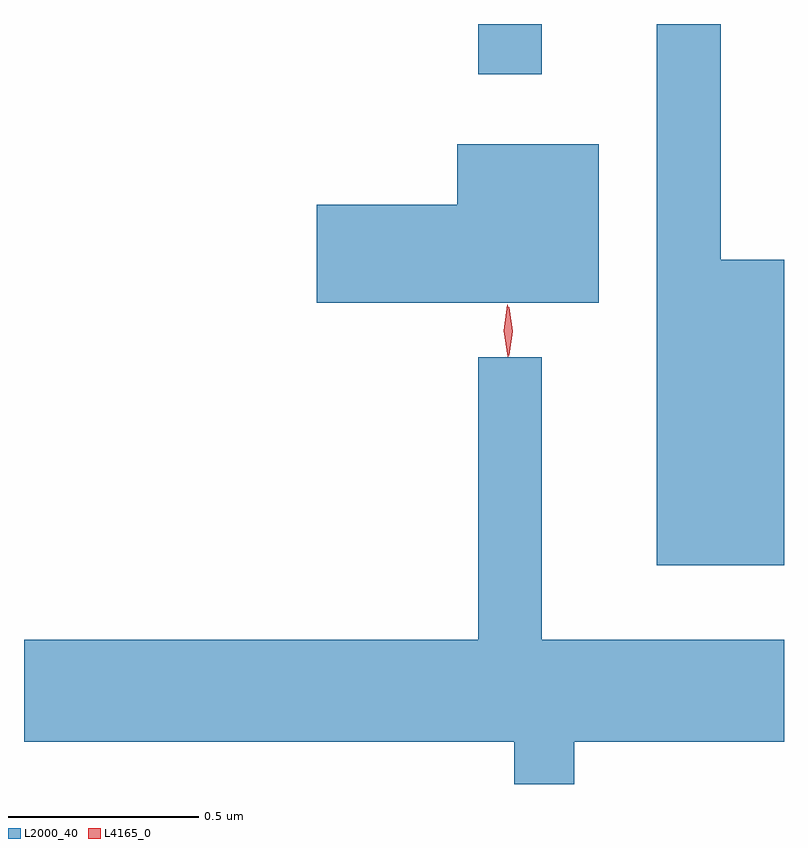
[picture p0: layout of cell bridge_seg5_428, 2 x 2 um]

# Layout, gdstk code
import gdstk
lib = gdstk.Library(unit=1e-6, precision=1e-09)
def R(c, l, rs):  # rectangles x0, y0, x1, y1
    for r in rs: c.add(gdstk.rectangle(r[:2], r[2:], *l))
def P(c, l, *ps):  # polygons
    for p in ps: c.add(gdstk.Polygon(p, *l))
L2000_40 = (2000, 40)
L4165_0 = (4165, 0)

bridge_seg5_428 = lib.new_cell('bridge_seg5_428')
R(bridge_seg5_428, L2000_40, [(438.831,1516.273,438.999,1516.405)])
P(bridge_seg5_428, L2000_40, [(439.636,1515.784),(439.469,1515.784),(439.469,1516.405),(439.301,1516.405),(439.301,1514.981),(439.636,1514.981)],
  [(439.149,1516.089),(438.776,1516.089),(438.776,1515.929),(438.406,1515.929),(438.406,1515.671),(439.149,1515.671)],
  [(439.084,1514.516),(439.636,1514.516),(439.636,1514.784),(438.999,1514.784),(438.999,1515.528),(438.831,1515.528),(438.831,1514.784),(437.636,1514.784),(437.636,1514.516),(438.926,1514.516),(438.926,1514.405),(439.084,1514.405)])
P(bridge_seg5_428, L4165_0, [(438.912,1515.533),(438.912,1515.533),(438.902,1515.596),(438.912,1515.659),(438.912,1515.66),(438.913,1515.659),(438.922,1515.596),(438.913,1515.533)],
  [(438.909,1515.53),(438.909,1515.53),(438.899,1515.598),(438.908,1515.666),(438.908,1515.666),(438.909,1515.666),(438.919,1515.598),(438.91,1515.53)])

lib.write_gds('bridge_seg5_428.gds')
